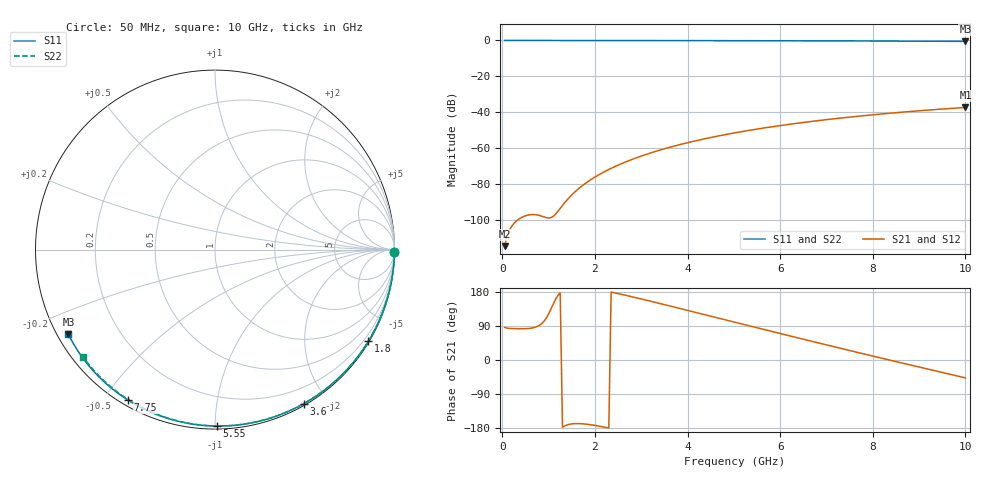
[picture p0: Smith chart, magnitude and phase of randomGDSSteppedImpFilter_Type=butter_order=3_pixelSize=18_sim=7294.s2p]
! freq	dB(S11)	phase(S11)	dB(S12)	phase(S12)
!  dB(S21)	phase(S21)	dB(S22)	phase(S22)
!S-par simulation data
#  GHz  S  DB  R 50
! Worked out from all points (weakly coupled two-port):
!   200 points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, 50 MHz to 10 GHz, reference 50 ohm
!   highest |S21| = -37.41 dB at 10 GHz (marker M1); lowest = -114.9 dB at 50 MHz (marker M2)
!   lowest |S11| = -0.5 dB at 10 GHz (marker M3), VSWR 34.45, Z = 1.56 - j13.4 ohm
!   |S11| at or under -10 dB: nowhere
!   |S22| runs from -0.5 to 0.0 dB; largest |S21 - S12| = 0
!   S11 on the Smith chart (normalised r, x): 50 MHz: open; 1.8 GHz: 0.03, -3.62; 3.6 GHz: 0.02, -1.73; 5.55 GHz: 0.02, -1.01; 7.75 GHz: 0.02, -0.58; 10 GHz: 0.03, -0.27
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0.05  -0.00 -0.9  -114.89 86.0  -114.89 86.0  -0.00 -0.8
0.45  -0.01 -7.8  -98.42 82.5  -98.42 82.5  -0.01 -7.3
0.9  -0.02 -15.6  -98.52 102.1  -98.52 102.1  -0.02 -14.6
1.3  -0.03 -22.4  -92.11 -177.4  -92.11 -177.4  -0.03 -21.0
1.75  -0.04 -30.0  -80.66 -168.6  -80.66 -168.6  -0.04 -28.1
1.8  -0.04 -30.8  -79.71 -169.2  -79.71 -169.2  -0.04 -28.9
1.95  -0.04 -33.4  -77.10 -171.6  -77.10 -171.6  -0.04 -31.3
2.1  -0.05 -35.9  -74.79 -174.7  -74.79 -174.7  -0.04 -33.6
2.3  -0.05 -39.2  -72.05 -179.5  -72.05 -179.5  -0.05 -36.7
2.5  -0.05 -42.5  -69.63 175.3  -69.63 175.3  -0.05 -39.8
2.9  -0.06 -49.0  -65.49 164.0  -65.49 164.0  -0.06 -45.9
3.4  -0.08 -57.0  -61.25 149.2  -61.25 149.2  -0.07 -53.4
3.6  -0.08 -60.1  -59.77 143.2  -59.77 143.2  -0.08 -56.4
4.3  -0.10 -70.9  -55.32 121.8  -55.32 121.8  -0.09 -66.6
5.05  -0.13 -82.2  -51.47 98.8  -51.47 98.8  -0.12 -77.2
5.55  -0.15 -89.5  -49.29 83.6  -49.29 83.6  -0.14 -84.1
6.1  -0.17 -97.3  -47.18 66.9  -47.18 66.9  -0.16 -91.5
6.7  -0.21 -105.7  -45.15 48.8  -45.15 48.8  -0.19 -99.4
7.75  -0.28 -120.0  -42.15 17.7  -42.15 17.7  -0.26 -112.9
8.35  -0.33 -128.0  -40.69 0.2  -40.69 0.2  -0.31 -120.4
9.2  -0.41 -139.3  -38.88 -24.3  -38.88 -24.3  -0.38 -130.9
10  -0.50 -149.9  -37.41 -47.2  -37.41 -47.2  -0.47 -140.7
